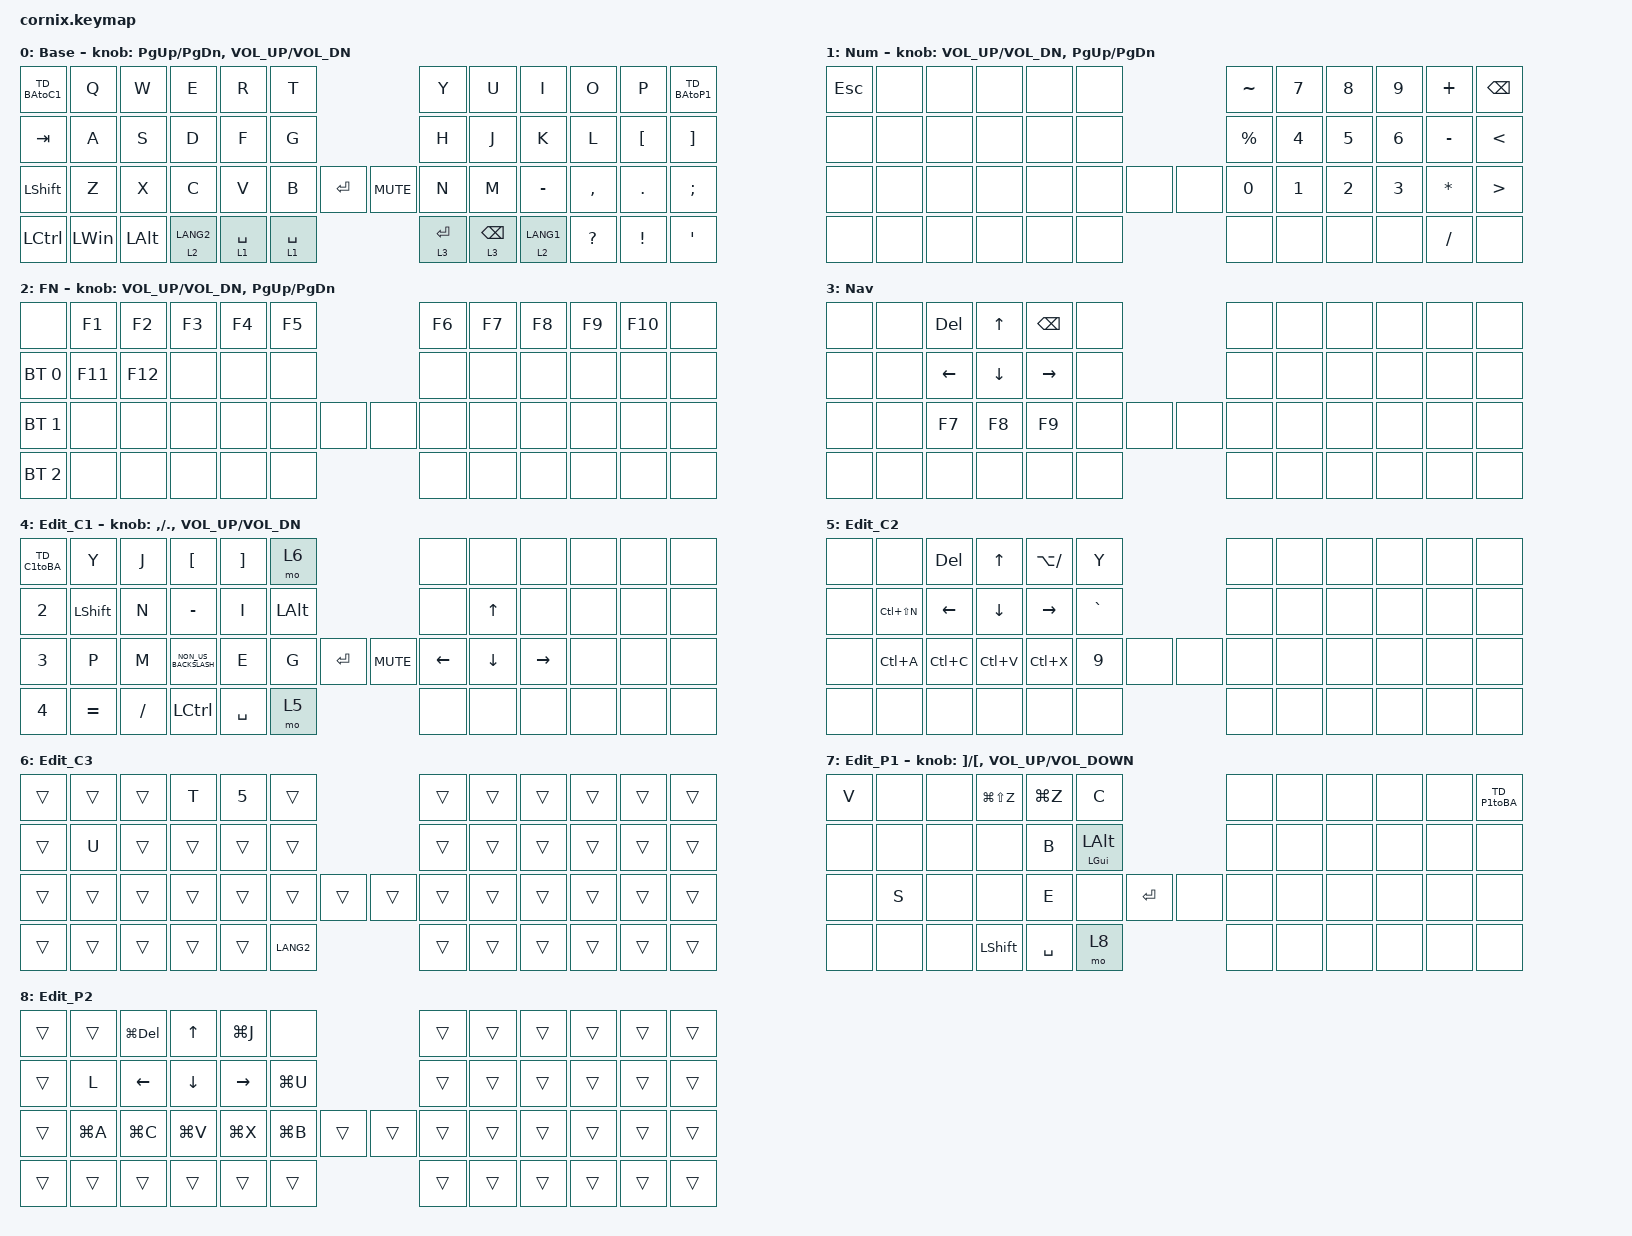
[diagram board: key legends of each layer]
/*
 * Copyright (c) 2020 The ZMK Contributors
 *
 * SPDX-License-Identifier: MIT
 */

#include "zmk-helpers/helper.h"
#include "includes/cornix54.h"

// tap windows for ctl alt and gui

#define HM_TAPPING_TERM 250
#define HM_TAPPING_REPEAT 210

// quick tapping for shift

#define HM_TAPPING_TERM_FAST 200
#define HM_PRIOR_IDLE 70
#define BASE 0
#define WIN 1
#define LOWER 2
#define RAISE 3
#define ADJUST 4
#define NAVI   5
#define NUM    6
#define DEBUG  7

// https://github.com/urob/zmk-config/tree/main#timeless-homerow-mods

#define KEYS_L LT0 LT1 LT2 LT3 LT4 LT5 LM0 LM1 LM2 LM3 LM4 LM5 LB0 LB1 LB2 LB3 LB4 LB5  // left hand
#define KEYS_R RT0 RT1 RT2 RT3 RT4 RT5 RM0 RM1 RM2 RM3 RM4 RM5 RB0 RB1 RB2 RB3 RB4 RB5  // right hand
#define THUMBS LH1 LH0 RH0 RH1
#define KEYS_T LH1 LH0 RH0 RH1
#define ZMK_POINTING_DEFAULT_SCRL_VAL 15

#include <behaviors.dtsi>
#include <dt-bindings/zmk/bt.h>
#include <dt-bindings/zmk/keys.h>

/ {
    // Activate ADJUST layer by pressing raise and lower

    behaviors {
        hm_l: homerow_mods_left {
            compatible = "zmk,behavior-hold-tap";
            #binding-cells = <2>;
            bindings = <&kp>, <&kp>;

            flavor = "balanced";
            tapping-term-ms = <HM_TAPPING_TERM>;
            quick-tap-ms = <200>;                // repeat on tap-into-hold
            require-prior-idle-ms = <HM_PRIOR_IDLE>;
            hold-trigger-key-positions = <KEYS_R KEYS_T>;
            hold-trigger-on-release;
        };

        hm_r: homerow_mods_right {
            compatible = "zmk,behavior-hold-tap";
            #binding-cells = <2>;
            bindings = <&kp>, <&kp>;

            flavor = "balanced";
            tapping-term-ms = <HM_TAPPING_TERM>;
            quick-tap-ms = <200>;
            require-prior-idle-ms = <HM_PRIOR_IDLE>;
            hold-trigger-key-positions = <KEYS_L KEYS_T>;
            hold-trigger-on-release;
        };

        // Positional Homerow mods for shift
        // Use faster tapping term and disable some features that may
        // cause false negatives.

        hm_shift_l: hm_shift_l {
            compatible = "zmk,behavior-hold-tap";
            #binding-cells = <2>;
            bindings = <&kp>, <&kp>;

            //flavor = "balanced";

            flavor = "balanced";
            tapping-term-ms = <HM_TAPPING_TERM_FAST>;
            quick-tap-ms = <200>;
            require-prior-idle-ms = <HM_PRIOR_IDLE>;
            hold-trigger-key-positions = <KEYS_R KEYS_T>;
            hold-trigger-on-release;
        };

        hm_shift_r: hm_shift_r {
            compatible = "zmk,behavior-hold-tap";
            #binding-cells = <2>;
            bindings = <&kp>, <&kp>;

            flavor = "balanced";
            tapping-term-ms = <HM_TAPPING_TERM_FAST>;
            quick-tap-ms = <200>;
            require-prior-idle-ms = <HM_PRIOR_IDLE>;
            hold-trigger-key-positions = <KEYS_L KEYS_T>;

            // for quick tapping; shift+~

            hold-trigger-on-release;
        };

        /*
         * Non-Positional Homerow Mods
         * Used for &mm_grescm_gui behavior on left hand.
         *
         * Usage: &hm LSHFT T
         * Tap: T
         * Tap-Tap-Hold: Repeat T
         * Hold: LSHIFT
         */

        hm: homerow_mods {
            compatible = "zmk,behavior-hold-tap";
            #binding-cells = <2>;
            bindings = <&kp>, <&kp>;

            flavor = "balanced";
            tapping-term-ms = <HM_TAPPING_TERM>;
            quick-tap-ms = <200>;
        };

        lt: layer_tap {
            compatible = "zmk,behavior-hold-tap";
            #binding-cells = <2>;
            bindings = <&mo>, <&kp>;

            flavor = "hold-preferred";
            tapping-term-ms = <HM_TAPPING_TERM>;
            quick-tap-ms = <200>;
        };

        TD_BAtoC1: TD_BAtoC1 {
            compatible = "zmk,behavior-tap-dance";
            label = "TD_BATOC1";
            #binding-cells = <0>;
            bindings = <&kp ESC>, <&to 4>;
        };

        TD_C1toBA: TD_C1toBA {
            compatible = "zmk,behavior-tap-dance";
            label = "TD_C1TOBA";
            #binding-cells = <0>;
            bindings = <&kp NUMBER_1>, <&to 0>;
        };

        TD_BAtoP1: TD_BAtoP1 {
            compatible = "zmk,behavior-tap-dance";
            label = "TD_BATOP1";
            #binding-cells = <0>;
            bindings = <&kp AT_SIGN>, <&to 7>;
        };

        TD_P1toBA: TD_P1toBA {
            compatible = "zmk,behavior-tap-dance";
            label = "TD_P1TOBA";
            #binding-cells = <0>;
            bindings = <&kp V>, <&to 0>;
        };
    };

    conditional_layers { compatible = "zmk,conditional-layers"; };

    combos {
        compatible = "zmk,combos";

        cb_ltm {
            bindings = <&kp ESC>;
            key-positions = <2 4>;
            layers = <0 1>;
        };

        cb_lm {
            bindings = <&kp TAB>;
            key-positions = <14 16>;
            layers = <0 1>;
        };

        cb_enter {
            bindings = <&kp RET>;
            key-positions = <21 19>;
            layers = <0 1>;
        };

        layer3 {
            bindings = <&kp N3>;
            key-positions = <5 6>;
        };

        layer4 {
            bindings = <&kp N4>;
            key-positions = <5 6>;
        };
    };

    macros {
        SS: SS {
            compatible = "zmk,behavior-macro";
            #binding-cells = <0>;
            bindings = <&none>;
            label = "SS";
        };
    };

    keymap {
        compatible = "zmk,keymap";

        default_layer {
            display-name = "Base";

            // ------------------------------------------------------------------------------------------------------------
            // |   `   |  1  |  2  |  3   |  4   |  5   |                   |  6   |  7    |  8    |  9   |   0   |       |
            // |  ESC  |  Q  |  W  |  E   |  R   |  T   |                   |  Y   |  U    |  I    |  O   |   P   | BKSPC |
            // |  TAB  |  A  |  S  |  D   |  F   |  G   |                   |  H   |  J    |  K    |  L   |   ;   |   '   |
            // | SHIFT |  Z  |  X  |  C   |  V   |  B   |  MUTE  |  |       |  N   |  M    |  ,    |  .   |   /   | SHIFT |
            //               | GUI | ALT  | CTRL | LOWER|  ENTER |  | SPACE | RAISE| CTRL  | ALT   | GUI  |

            bindings = <
&TD_BAtoC1      &kp Q         &kp W         &kp E        &kp R        &kp T                               &kp Y        &kp U            &kp I        &kp O         &kp P             &TD_BAtoP1
&kp TAB         &kp A         &kp S         &kp D        &kp F        &kp G                               &kp H        &kp J            &kp K        &kp L         &kp LEFT_BRACKET  &kp RIGHT_BRACKET
&kp LEFT_SHIFT  &kp Z         &kp X         &kp C        &kp V        &kp B        &kp ENTER  &kp C_MUTE  &kp N        &kp M            &kp MINUS    &kp COMMA     &kp PERIOD        &kp SEMICOLON
&kp LCTRL       &kp LEFT_WIN  &kp LEFT_ALT  &lt 2 LANG2  &lt 1 SPACE  &lt 1 SPACE                         &lt 3 ENTER  &lt 3 BACKSPACE  &lt 2 LANG1  &kp QUESTION  &kp EXCLAMATION   &kp SQT
            >;

            sensor-bindings =
                <&inc_dec_kp PG_UP PG_DN>,
                <&inc_dec_kp C_VOL_UP C_VOL_DN>;
        };

        Number {
            display-name = "Num";

            // ------------------------------------------------------------------------------------------------------------
            // |   `   |  1  |  2  |  3   |  4   |  5   |                   |  6   |  7    |  8    |  9   |   0   |       |
            // |  ESC  |  Q  |  W  |  E   |  R   |  T   |                   |  Y   |  U    |  I    |  O   |   P   | BKSPC |
            // |  TAB  |  A  |  S  |  D   |  F   |  G   |                   |  H   |  J    |  K    |  L   |   ;   |   '   |
            // | SHIFT |  Z  |  X  |  C   |  V   |  B   |  MUTE  |  |       |  N   |  M    |  ,    |  .   |   /   | SHIFT |
            //               | GUI | ALT  | CTRL | LOWER|  ENTER |  | SPACE | RAISE| CTRL  | ALT   | GUI  |

            bindings = <
&kp ESC  &none  &none  &none  &none  &none                &kp TILDE     &kp NUMBER_7  &kp NUMBER_8  &kp NUMBER_9  &kp PLUS      &kp BACKSPACE
&none    &none  &none  &none  &none  &none                &kp PERCENT   &kp NUMBER_4  &kp N5        &kp NUMBER_6  &kp MINUS     &kp LESS_THAN
&none    &none  &none  &none  &none  &none  &none  &none  &kp NUMBER_0  &kp NUMBER_1  &kp NUMBER_2  &kp NUMBER_3  &kp ASTERISK  &kp GREATER_THAN
&none    &none  &none  &none  &none  &none                &none         &none         &none         &none         &kp SLASH     &none
            >;

            sensor-bindings = <&inc_dec_kp C_VOL_UP C_VOL_DN &inc_dec_kp PG_UP PG_DN>;
        };

        Function {
            display-name = "FN";

            // TODO: Some binds are waiting for shifted keycode support.
            // -------------------------------
            // |       |  F1 |  F2 |  F3  |  F4  |  F5  |                   |  F6  |  F7   |  F8   |  F9  |  F10  |  F11  |
            // |   `   |  1  |  2  |  3   |  4   |  5   |                   |  6   |  7    |  8    |  9   |   0   |  F12  |
            // |       |  !  |  @  |  #   |  $   |  %   |                   |  ^   |  &    |  *    |  (   |   )   |   |   |
            // |       |  =  |  -  |  +   |  {   |  }   |        |  |       |  [   |  ]    |  ;    |  :   |   \   |       |
            //               |     |      |      |      |        |  |       |      |       |       |      |

            bindings = <
&none         &kp F1   &kp F2   &kp F3  &kp F4  &kp F5                &kp F6  &kp F7  &kp F8  &kp F9  &kp F10  &none
&bt BT_SEL 0  &kp F11  &kp F12  &none   &none   &none                 &none   &none   &none   &none   &none    &none
&bt BT_SEL 1  &none    &none    &none   &none   &none   &none  &none  &none   &none   &none   &none   &none    &none
&bt BT_SEL 2  &none    &none    &none   &none   &none                 &none   &none   &none   &none   &none    &none
            >;

            sensor-bindings = <&inc_dec_kp C_VOL_UP C_VOL_DN &inc_dec_kp PG_UP PG_DN>;
        };

        Navigation {
            display-name = "Nav";

            // ----------------------------------------------------------------------------------------------------------------------------
            // | BTCLR  |  BT1    |  BT2    |   BT3   |   BT4   |   BT5   |                  |      |      |       |      |       |       |
            // | moDEBUG| RGB_HUD | RGB_HUI | RGB_SAD | RGB_SAI | RGB_EFF |                  |      |      |       |      |       |       |
            // | EXTPWR | RGB_BRD | RGB_BRI |         |         |         |                  |      |      |       |      |       |       |
            // |        |         |         |         |         |         | RGB_TOG | |      |      |      |       |      |       |       |
            //                    |         |         |         |         |         | |      |      |      |       |      |

            bindings = <
&none  &none  &kp DEL   &kp UP    &kp BSPC   &none                &none  &none  &none  &none  &none  &none
&none  &none  &kp LEFT  &kp DOWN  &kp RIGHT  &none                &none  &none  &none  &none  &none  &none
&none  &none  &kp F7    &kp F8    &kp F9     &none  &none  &none  &none  &none  &none  &none  &none  &none
&none  &none  &none     &none     &none      &none                &none  &none  &none  &none  &none  &none
            >;
        };

        Editor_C1 {
            display-name = "Edit_C1";
            bindings = <
&TD_C1toBA    &kp Y           &kp J      &kp LEFT_BRACKET      &kp RIGHT_BRACKET  &mo 6                                &none     &none     &none      &none  &none  &none
&kp NUMBER_2  &kp LEFT_SHIFT  &kp N      &kp MINUS             &kp I              &kp LEFT_ALT                         &none     &kp UP    &none      &none  &none  &none
&kp NUMBER_3  &kp P           &kp M      &kp NON_US_BACKSLASH  &kp E              &kp G         &kp ENTER  &kp C_MUTE  &kp LEFT  &kp DOWN  &kp RIGHT  &none  &none  &none
&kp NUMBER_4  &kp EQUAL       &kp SLASH  &kp LCTRL             &kp SPACE          &mo 5                                &none     &none     &none      &none  &none  &none
            >;

            sensor-bindings =
                <&inc_dec_kp COMMA PERIOD>,
                <&inc_dec_kp C_VOLUME_UP C_VOL_DN>;
        };

        Editor_C2 {
            bindings = <
&none  &none          &kp DEL    &kp UP     &kp LA(FSLH)     &kp Y                    &none  &none  &none  &none  &none  &none
&none  &kp LC(LS(N))  &kp LEFT   &kp DOWN   &kp RIGHT_ARROW  &kp GRAVE                &none  &none  &none  &none  &none  &none
&none  &kp LC(A)      &kp LC(C)  &kp LC(V)  &kp LC(X)        &kp N9     &none  &none  &none  &none  &none  &none  &none  &none
&none  &none          &none      &none      &none            &none                    &none  &none  &none  &none  &none  &none
            >;

            label = "Edit_C2";
        };

        Editor_C3 {
            bindings = <
&trans  &trans  &trans  &kp T   &kp NUMBER_5  &trans                     &trans  &trans  &trans  &trans  &trans  &trans
&trans  &kp U   &trans  &trans  &trans        &trans                     &trans  &trans  &trans  &trans  &trans  &trans
&trans  &trans  &trans  &trans  &trans        &trans     &trans  &trans  &trans  &trans  &trans  &trans  &trans  &trans
&trans  &trans  &trans  &trans  &trans        &kp LANG2                  &trans  &trans  &trans  &trans  &trans  &trans
            >;

            label = "Edit_C3";
        };

        Editor_P1 {
            bindings = <
&kp V  &none  &none  &kp LG(LS(Z))  &kp LG(Z)  &kp C                                    &none  &none  &none  &none  &none  &TD_P1toBA
&none  &none  &none  &none          &kp B      &mt LEFT_GUI LEFT_ALT                    &none  &none  &none  &none  &none  &none
&none  &kp S  &none  &none          &kp E      &none                  &kp ENTER  &none  &none  &none  &none  &none  &none  &none
&none  &none  &none  &kp LSHFT      &kp SPACE  &mo 8                                    &none  &none  &none  &none  &none  &none
            >;

            label = "Edit_P1";
            sensor-bindings =
                <&inc_dec_kp RIGHT_BRACKET LEFT_BRACKET>,
                <&inc_dec_kp C_VOLUME_UP C_VOLUME_DOWN>;
        };

        Editor_P2 {
            bindings = <
&trans  &trans     &kp LG(DEL)  &kp UP     &kp LG(J)  &none                      &trans  &trans  &trans  &trans  &trans  &trans
&trans  &kp L      &kp LEFT     &kp DOWN   &kp RIGHT  &kp LG(U)                  &trans  &trans  &trans  &trans  &trans  &trans
&trans  &kp LG(A)  &kp LG(C)    &kp LG(V)  &kp LG(X)  &kp LG(B)  &trans  &trans  &trans  &trans  &trans  &trans  &trans  &trans
&trans  &trans     &trans       &trans     &trans     &trans                     &trans  &trans  &trans  &trans  &trans  &trans
            >;

            label = "Edit_P2";
        };
    };
};
